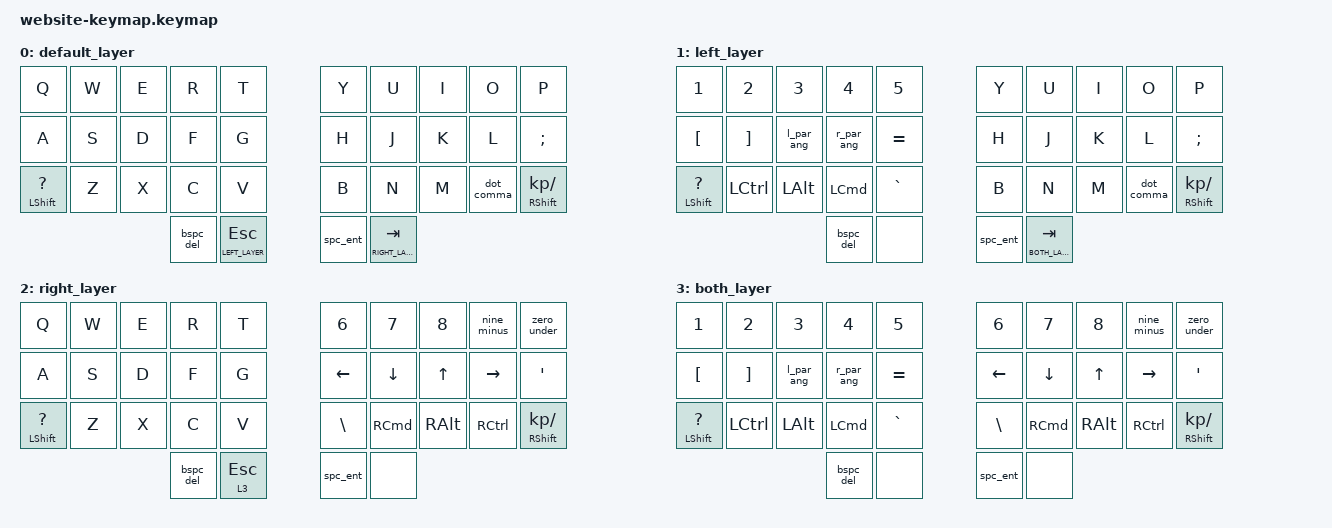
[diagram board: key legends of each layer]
#include <dt-bindings/zmk/keys.h>

/ {
    behaviors {
        bspc_del: backspace_delete {
            compatible = "zmk,behavior-mod-morph";
            label = "BACKSPACE_DELETE";
            #binding-cells = <0>;
            bindings =
                <&kp BACKSPACE>,
                <&kp DELETE>;

            mods = <(MOD_LSFT|MOD_RSFT)>;
            keep-mods = <(MOD_RSFT)>;
        };
        spc_ent: space_enter {
            compatible = "zmk,behavior-mod-morph";
            label = "SPACE_ENTER";
            #binding-cells = <0>;
            bindings =
                <&kp SPACE>,
                <&kp ENTER>;

            mods = <(MOD_LSFT|MOD_RSFT)>;
            keep-mods = <(MOD_RSFT)>;
        };
        dot_comma: period_comma {
            compatible = "zmk,behavior-mod-morph";
            label = "DOT_COMMA";
            #binding-cells = <0>;
            bindings =
                <&kp SPACE>,
                <&kp ENTER>;

            mods = <(MOD_LSFT|MOD_RSFT)>;
            keep-mods = <(MOD_RSFT)>;
        };
        nine_minus: nine_minus {
            compatible = "zmk,behavior-mod-morph";
            label = "N9_MINUS";
            #binding-cells = <0>;
            bindings =
                <&kp KP_NUMBER_9>,
                <&kp KP_MINUS>;

            mods = <(MOD_LSFT|MOD_RSFT)>;
            keep-mods = <(MOD_RSFT)>;
        };
        zero_under: zero_under {
            compatible = "zmk,behavior-mod-morph";
            label = "ZERO_UNDER";
            #binding-cells = <0>;
            bindings =
                <&kp KP_NUMBER_0>,
                <&kp UNDERSCORE>;

            mods = <(MOD_LSFT|MOD_RSFT)>;
            keep-mods = <(MOD_RSFT)>;
        };
        l_par_ang: left_parans_angle {
            compatible = "zmk,behavior-mod-morph";
            label = "L_PAR_ANG";
            #binding-cells = <0>;
            bindings =
                <&kp LEFT_PARENTHESIS>,
                <&kp LESS_THAN>;

            mods = <(MOD_LSFT|MOD_RSFT)>;
            keep-mods = <(MOD_RSFT)>;
        };
        r_par_ang: right_parens_angle {
            compatible = "zmk,behavior-mod-morph";
            label = "R_PAR_ANG";
            #binding-cells = <0>;
            bindings =
                <&kp RIGHT_PARENTHESIS>,
                <&kp GREATER_THAN>;

            mods = <(MOD_LSFT|MOD_RSFT)>;
            keep-mods = <(MOD_RSFT)>;
        };
    };

    keymap {
        compatible = "zmk,keymap";

        // Base alpha layer

        default_layer {
            bindings = <
&kp Q             &kp W  &kp E  &kp R      &kp T                    &kp Y     &kp U                &kp I  &kp O       &kp P
&kp A             &kp S  &kp D  &kp F      &kp G                    &kp H     &kp J                &kp K  &kp L       &kp SEMICOLON
&mt LSHIFT QMARK  &kp Z  &kp X  &kp C      &kp V                    &kp B     &kp N                &kp M  &dot_comma  &mt RSHIFT KP_SLASH
                                &bspc_del  &lt LEFT_LAYER ESCAPE    &spc_ent  &lt RIGHT_LAYER TAB
            >;
        };

        // Numbers and high frequency symbols

        left_layer {
            bindings = <
&kp N1           &kp N2     &kp N3      &kp N4      &kp N5       &kp Y     &kp U               &kp I  &kp O       &kp P
&kp LBKT         &kp RBKT   &l_par_ang  &r_par_ang  &kp EQUAL    &kp H     &kp J               &kp K  &kp L       &kp SEMICOLON
&mt LSHFT QMARK  &kp LCTRL  &kp LALT    &kp LCMD    &kp GRAVE    &kp B     &kp N               &kp M  &dot_comma  &mt RSHIFT KP_SLASH
                                        &bspc_del   &none        &spc_ent  &lt BOTH_LAYER TAB
            >;
        };

        // Main modifiers and arrow keys

        right_layer {
            bindings = <
&kp Q             &kp W  &kp E  &kp R      &kp T           &kp N6         &kp N7    &kp N8    &nine_minus  &zero_under
&kp A             &kp S  &kp D  &kp F      &kp G           &kp LEFT       &kp DOWN  &kp UP    &kp RIGHT    &kp SINGLE_QUOTE
&mt LSHIFT QMARK  &kp Z  &kp X  &kp C      &kp V           &kp BACKSLASH  &kp RCMD  &kp RALT  &kp RCTRL    &mt RSHIFT KP_SLASH
                                &bspc_del  &lt 3 ESCAPE    &spc_ent       &none
            >;
        };

        // holding both thumb keys

        both_layer {
            bindings = <
&kp N1           &kp N2     &kp N3      &kp N4      &kp N5       &kp N6         &kp N7    &kp N8    &nine_minus  &zero_under
&kp LBKT         &kp RBKT   &l_par_ang  &r_par_ang  &kp EQUAL    &kp LEFT       &kp DOWN  &kp UP    &kp RIGHT    &kp SINGLE_QUOTE
&mt LSHFT QMARK  &kp LCTRL  &kp LALT    &kp LCMD    &kp GRAVE    &kp BACKSLASH  &kp RCMD  &kp RALT  &kp RCTRL    &mt RSHIFT KP_SLASH
                                        &bspc_del   &none        &spc_ent       &none
            >;
        };
    };
};
